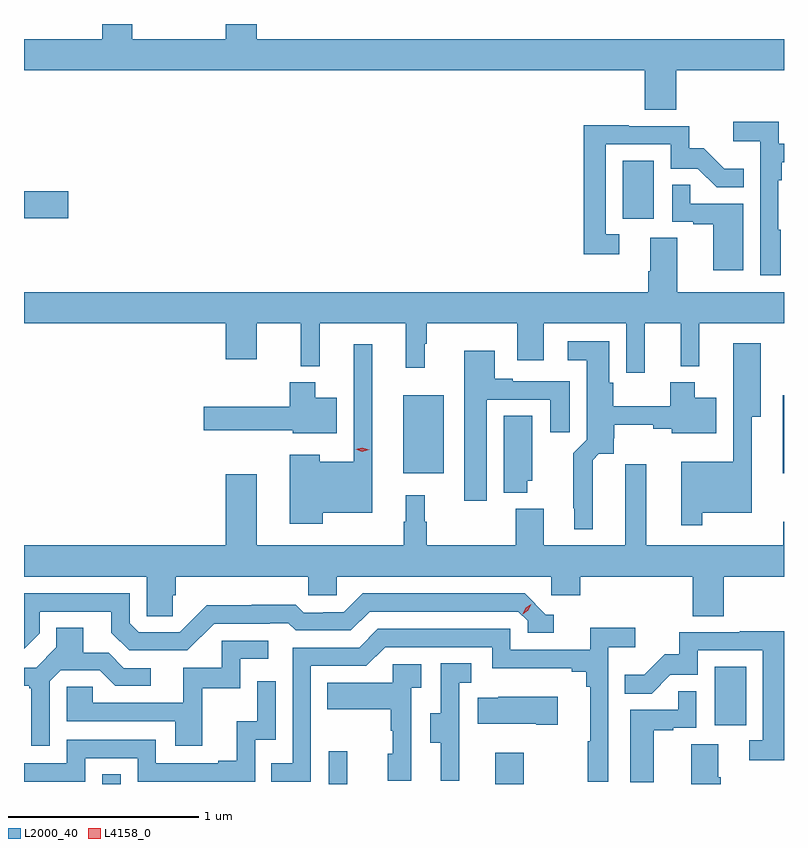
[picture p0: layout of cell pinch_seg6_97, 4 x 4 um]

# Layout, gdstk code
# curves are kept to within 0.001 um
import gdstk
lib = gdstk.Library(unit=1e-6, precision=1e-09)
def R(c, l, rs):  # rectangles x0, y0, x1, y1
    for r in rs: c.add(gdstk.rectangle(r[:2], r[2:], *l))
def P(c, l, *ps):  # polygons
    for p in ps: c.add(gdstk.Polygon(p, *l))
L2000_40 = (2000, 40)
L4158_0 = (4158, 0)

pinch_seg6_97 = lib.new_cell('pinch_seg6_97')
R(pinch_seg6_97, L2000_40, [(931.59,915.608,931.686,915.659), (932.781,915.608,932.879,915.781), (933.659,915.608,933.807,915.772), (934.814,915.918,934.978,916.225), (933.173,917.243,933.388,917.653), (935.171,917.243,935.178,917.653), (934.328,918.582,934.492,918.889), (931.178,918.586,931.411,918.728)])
P(pinch_seg6_97, L2000_40, [(934.61,919.364),(935.178,919.364),(935.178,919.528),(932.404,919.528),(932.404,919.608),(932.24,919.608),(932.24,919.528),(931.749,919.528),(931.749,919.608),(931.589,919.608),(931.589,919.528),(931.178,919.528),(931.178,919.364),(934.445,919.364),(934.445,919.156),(934.61,919.156)],
  [(935.161,918.524),(935.148,918.524),(935.148,918.785),(935.165,918.785),(935.165,918.881),(935.178,918.881),(935.178,918.978),(935.15,918.978),(935.15,919.094),(934.911,919.094),(934.911,918.992),(935.052,918.992),(935.052,918.285),(935.161,918.285)],
  [(934.312,918.501),(934.239,918.501),(934.239,918.975),(934.581,918.975),(934.581,918.846),(934.725,918.846),(934.823,918.748),(934.967,918.748),(934.967,918.847),(934.863,918.847),(934.756,918.954),(934.68,918.954),(934.68,919.071),(934.361,919.071),(934.361,919.076),(934.123,919.076),(934.123,918.396),(934.312,918.396)],
  [(934.963,918.663),(934.685,918.663),(934.685,918.761),(934.59,918.761),(934.59,918.567),(934.701,918.567),(934.701,918.555),(934.805,918.555),(934.805,918.312),(934.963,918.312)],
  [(931.178,918.032),(932.24,918.032),(932.24,917.844),(932.404,917.844),(932.404,918.032),(932.635,918.032),(932.635,917.807),(932.735,917.807),(932.735,918.032),(933.188,918.032),(933.188,917.799),(933.287,917.799),(933.287,917.924),(933.298,917.924),(933.298,918.032),(933.773,918.032),(933.773,917.838),(933.913,917.838),(933.913,918.032),(934.347,918.032),(934.347,917.772),(934.445,917.772),(934.445,918.032),(934.634,918.032),(934.634,917.807),(934.732,917.807),(934.732,918.032),(935.178,918.032),(935.178,918.196),(934.615,918.196),(934.615,918.482),(934.475,918.482),(934.475,918.308),(934.463,918.308),(934.463,918.196),(931.178,918.196)],
  [(934.171,917.312),(934.203,917.345),(934.283,917.345),(934.284,917.498),(934.49,917.498),(934.49,917.479),(934.586,917.479),(934.586,917.453),(934.822,917.453),(934.822,917.641),(934.708,917.641),(934.708,917.722),(934.579,917.722),(934.579,917.596),(934.278,917.596),(934.278,917.721),(934.258,917.721),(934.258,917.938),(934.041,917.938),(934.041,917.837),(934.139,917.837),(934.139,917.42),(934.069,917.35),(934.069,917.059),(934.073,917.059),(934.073,916.949),(934.171,916.949)],
  [(934.747,917.036),(935.008,917.036),(935.008,917.54),(935.056,917.54),(935.056,917.929),(934.91,917.929),(934.91,917.305),(934.638,917.305),(934.638,916.971),(934.747,916.971)],
  [(932.751,917.036),(933.01,917.036),(933.01,917.923),(932.913,917.923),(932.913,917.305),(932.734,917.305),(932.734,917.341),(932.576,917.341),(932.576,916.979),(932.751,916.979)],
  [(933.613,917.631),(933.947,917.631),(933.947,917.46),(934.051,917.46),(934.051,917.727),(933.751,917.727),(933.751,917.74),(933.655,917.74),(933.655,917.887),(933.494,917.887),(933.494,917.1),(933.613,917.1)],
  [(932.824,917.641),(932.71,917.641),(932.71,917.722),(932.576,917.722),(932.576,917.593),(932.124,917.593),(932.124,917.471),(932.592,917.471),(932.592,917.453),(932.824,917.453)],
  [(933.826,917.205),(933.853,917.205),(933.853,917.546),(933.704,917.546),(933.704,917.141),(933.826,917.141)],
  [(931.961,916.602),(931.976,916.602),(931.976,916.7),(932.673,916.7),(932.673,916.602),(932.823,916.602),(932.823,916.7),(933.954,916.7),(933.954,916.602),(934.106,916.602),(934.106,916.7),(934.697,916.7),(934.697,916.492),(934.862,916.492),(934.862,916.7),(935.178,916.7),(935.178,916.988),(935.175,916.988),(935.175,916.864),(934.453,916.864),(934.453,917.29),(934.343,917.29),(934.343,916.864),(933.913,916.864),(933.913,917.056),(933.766,917.056),(933.766,916.864),(933.298,916.864),(933.298,916.988),(933.287,916.988),(933.287,917.128),(933.188,917.128),(933.188,916.988),(933.177,916.988),(933.177,916.864),(932.404,916.864),(932.404,917.239),(932.24,917.239),(932.24,916.864),(931.178,916.864),(931.178,916.7),(931.824,916.7),(931.824,916.492),(931.961,916.492)],
  [(932.178,916.452),(932.471,916.452),(932.471,916.455),(932.57,916.455),(932.609,916.416),(932.898,916.416),(932.997,916.515),(933.78,916.515),(933.828,916.467),(933.828,916.404),(933.967,916.404),(933.967,916.5),(933.924,916.5),(933.813,916.611),(932.96,916.611),(932.861,916.512),(932.754,916.512),(932.754,916.509),(932.651,916.509),(932.609,916.552),(932.376,916.552),(932.376,916.549),(932.14,916.549),(931.998,916.407),(931.782,916.407),(931.734,916.455),(931.734,916.611),(931.178,916.611),(931.178,916.319),(931.26,916.401),(931.26,916.515),(931.637,916.515),(931.637,916.405),(931.731,916.311),(932.037,916.311)],
  [(931.314,916.149),(931.371,916.206),(931.577,916.206),(931.658,916.125),(931.846,916.125),(931.846,916.218),(931.704,916.218),(931.624,916.298),(931.489,916.298),(931.489,916.43),(931.349,916.43),(931.349,916.328),(931.242,916.221),(931.178,916.221),(931.178,916.124),(931.206,916.124),(931.206,916.113),(931.217,916.113),(931.217,915.81),(931.314,915.81)],
  [(932.688,916.23),(932.979,916.23),(933.078,916.329),(933.642,916.329),(933.642,916.217),(934.061,916.217),(934.061,916.198),(934.138,916.198),(934.138,916.121),(934.157,916.121),(934.157,915.833),(934.146,915.833),(934.146,915.621),(934.254,915.621),(934.254,916.328),(934.396,916.328),(934.396,916.43),(934.157,916.43),(934.157,916.314),(933.738,916.314),(933.738,916.425),(933.041,916.425),(932.942,916.326),(932.592,916.326),(932.592,915.717),(932.479,915.717),(932.479,915.621),(932.688,915.621)],
  [(935.178,916.412),(934.945,916.412),(934.945,916.407),(934.627,916.407),(934.627,916.29),(934.55,916.29),(934.443,916.183),(934.339,916.183),(934.339,916.084),(934.482,916.084),(934.58,916.182),(934.725,916.182),(934.725,916.311),(935.067,916.311),(935.067,915.837),(934.995,915.837),(934.995,915.732),(935.178,915.732)],
  [(932.117,916.113),(932.316,916.113),(932.316,916.266),(932.464,916.266),(932.464,916.362),(932.22,916.362),(932.22,916.221),(932.015,916.221),(932.015,916.035),(931.541,916.035),(931.541,916.119),(931.404,916.119),(931.404,915.939),(931.973,915.939),(931.973,915.81),(932.117,915.81)],
  [(933.47,915.837),(933.468,915.837),(933.468,916.141),(933.532,916.141),(933.532,916.244),(933.372,916.244),(933.372,915.981),(933.317,915.981),(933.317,915.826),(933.371,915.826),(933.371,915.624),(933.47,915.624)],
  [(933.216,916.115),(933.268,916.115),(933.268,916.239),(933.12,916.239),(933.12,916.141),(932.773,916.141),(932.773,916.001),(933.108,916.001),(933.108,915.887),(933.118,915.887),(933.118,915.768),(933.092,915.768),(933.092,915.624),(933.216,915.624)],
  [(931.5,915.744),(931.776,915.744),(931.776,915.621),(932.394,915.621),(932.394,915.84),(932.502,915.84),(932.502,916.15),(932.406,916.15),(932.406,915.938),(932.297,915.938),(932.297,915.73),(932.201,915.73),(932.201,915.717),(931.872,915.717),(931.872,915.84),(931.404,915.84),(931.404,915.717),(931.178,915.717),(931.178,915.621),(931.5,915.621)],
  [(934.492,915.891),(934.595,915.891),(934.595,915.903),(934.716,915.903),(934.716,916.097),(934.621,916.097),(934.621,915.999),(934.37,915.999),(934.37,915.617),(934.492,915.617)],
  [(933.988,916.066),(933.673,916.066),(933.673,916.063),(933.565,916.063),(933.565,915.926),(933.875,915.926),(933.875,915.919),(933.988,915.919)],
  [(934.844,915.644),(934.831,915.644),(934.831,915.818),(934.691,915.818),(934.691,915.608),(934.844,915.608)])
P(pinch_seg6_97, L4158_0, [(933.803,916.502),(933.803,916.503),(933.818,916.535),(933.848,916.555),(933.848,916.555),(933.848,916.555),(933.833,916.522),(933.803,916.502)],
  [(932.959,917.358),(932.924,917.37),(932.923,917.37),(932.924,917.37),(932.959,917.378),(932.994,917.367),(932.995,917.367),(932.994,917.367)])

lib.write_gds('pinch_seg6_97.gds')
